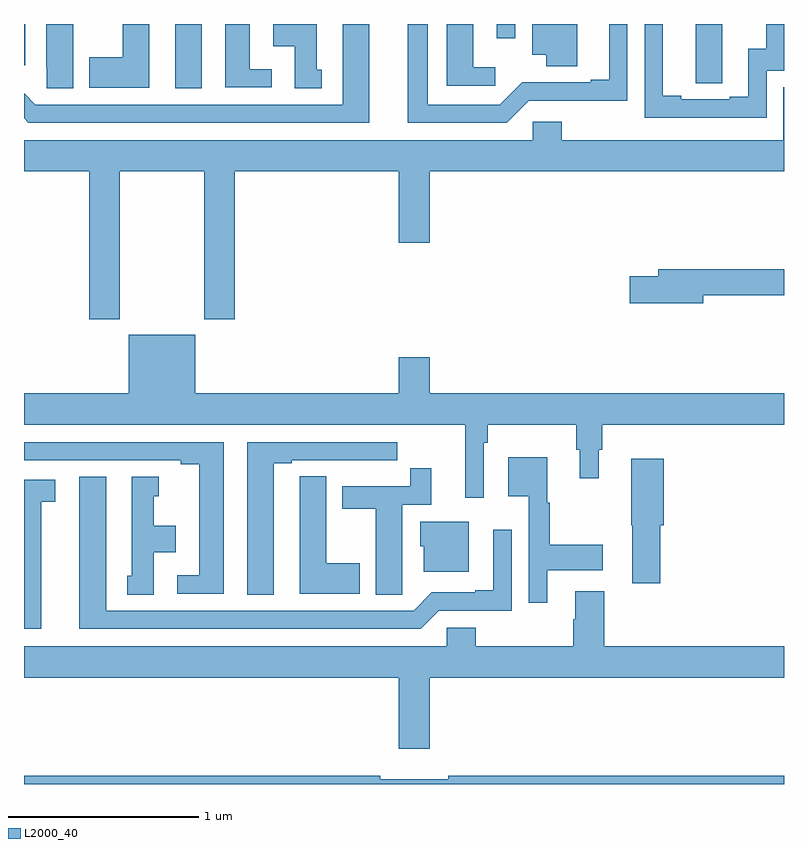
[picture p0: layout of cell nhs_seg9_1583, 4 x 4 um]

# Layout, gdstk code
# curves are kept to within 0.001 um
import gdstk
lib = gdstk.Library(unit=1e-6, precision=1e-09)
def R(c, l, rs):  # rectangles x0, y0, x1, y1
    for r in rs: c.add(gdstk.rectangle(r[:2], r[2:], *l))
def P(c, l, *ps):  # polygons
    for p in ps: c.add(gdstk.Polygon(p, *l))
L2000_40 = (2000, 40)

nhs_seg9_1583 = lib.new_cell('nhs_seg9_1583')
R(nhs_seg9_1583, L2000_40, [(199.796,1226.161,199.936,1226.5), (199,1226.282,199.006,1226.5), (201.489,1226.424,201.585,1226.5)])
P(nhs_seg9_1583, L2000_40, [(200.305,1226.262),(200.188,1226.262),(200.188,1226.5),(200.06,1226.5),(200.06,1226.166),(200.305,1226.166)],
  [(199.258,1226.5),(199.118,1226.5),(199.118,1226.272),(199.119,1226.272),(199.119,1226.161),(199.258,1226.161)],
  [(200.566,1226.259),(200.542,1226.259),(200.542,1226.5),(200.312,1226.5),(200.312,1226.384),(200.426,1226.384),(200.426,1226.161),(200.566,1226.161)],
  [(200.818,1226.5),(200.678,1226.5),(200.678,1226.076),(199.059,1226.076),(199,1226.135),(199,1226.003),(199.023,1225.98),(200.818,1225.98)],
  [(201.913,1226.5),(201.674,1226.5),(201.674,1226.339),(201.749,1226.339),(201.749,1226.278),(201.913,1226.278)],
  [(202.674,1226.296),(202.675,1226.296),(202.675,1226.5),(202.535,1226.5),(202.535,1226.188),(202.674,1226.188)],
  [(199.66,1226.5),(199.52,1226.5),(199.52,1226.325),(199.343,1226.325),(199.343,1226.165),(199.66,1226.165)],
  [(202.908,1226.253),(203,1226.253),(203,1226.5),(202.906,1226.5),(202.906,1226.369),(202.811,1226.369),(202.811,1226.118),(202.715,1226.118),(202.715,1226.103),(202.459,1226.103),(202.459,1226.123),(202.363,1226.123),(202.363,1226.5),(202.266,1226.5),(202.266,1226.007),(202.908,1226.007)],
  [(201.657,1226.097),(202.176,1226.096),(202.176,1226.5),(202.079,1226.5),(202.079,1226.206),(201.983,1226.206),(201.983,1226.193),(201.622,1226.194),(201.504,1226.076),(201.124,1226.076),(201.124,1226.5),(201.02,1226.5),(201.02,1225.98),(201.54,1225.98)],
  [(201.481,1226.272),(201.364,1226.272),(201.364,1226.5),(201.224,1226.5),(201.224,1226.175),(201.481,1226.175)],
  [(199.503,1225.724),(199.948,1225.724),(199.948,1224.945),(200.108,1224.945),(200.108,1225.724),(200.972,1225.724),(200.972,1225.35),(201.136,1225.35),(201.136,1225.724),(203,1225.724),(203,1226.168),(202.997,1226.168),(202.997,1225.888),(201.83,1225.888),(201.83,1225.986),(201.678,1225.986),(201.678,1225.888),(199,1225.888),(199,1225.724),(199.343,1225.724),(199.343,1224.945),(199.503,1224.945)],
  [(202.576,1225.072),(203,1225.072),(203,1225.208),(202.337,1225.208),(202.337,1225.172),(202.188,1225.172),(202.188,1225.03),(202.576,1225.03)],
  [(201.42,1224.296),(201.44,1224.296),(201.44,1224.392),(201.907,1224.392),(201.907,1224.258),(201.926,1224.258),(201.926,1224.108),(202.024,1224.108),(202.024,1224.258),(202.043,1224.258),(202.043,1224.392),(203,1224.392),(203,1224.556),(201.136,1224.556),(201.136,1224.745),(200.972,1224.745),(200.972,1224.556),(199.9,1224.556),(199.9,1224.865),(199.55,1224.865),(199.55,1224.556),(199,1224.556),(199,1224.392),(201.323,1224.392),(201.323,1224.006),(201.42,1224.006)],
  [(200.05,1224.3),(199,1224.3),(199,1224.204),(199.826,1224.204),(199.826,1224.184),(199.922,1224.184),(199.922,1223.598),(199.806,1223.598),(199.806,1223.502),(200.05,1223.502)],
  [(200.314,1224.189),(200.41,1224.189),(200.41,1224.204),(200.686,1224.204),(200.686,1224.203),(200.852,1224.203),(200.852,1224.204),(200.965,1224.204),(200.965,1224.3),(200.174,1224.3),(200.174,1223.497),(200.314,1223.497)],
  [(201.754,1223.624),(202.045,1223.624),(202.045,1223.759),(201.766,1223.759),(201.766,1223.979),(201.754,1223.979),(201.754,1224.22),(201.548,1224.22),(201.548,1224.014),(201.657,1224.014),(201.657,1223.454),(201.754,1223.454)],
  [(202.349,1223.862),(202.367,1223.862),(202.367,1224.211),(202.196,1224.211),(202.196,1223.862),(202.202,1223.862),(202.202,1223.556),(202.349,1223.556)],
  [(200.991,1223.608),(200.992,1223.608),(200.992,1223.97),(201.143,1223.97),(201.143,1224.163),(201.034,1224.163),(201.034,1224.066),(200.675,1224.066),(200.675,1223.95),(200.852,1223.95),(200.852,1223.497),(200.991,1223.497)],
  [(200.767,1223.661),(200.59,1223.661),(200.59,1224.119),(200.451,1224.119),(200.451,1224.011),(200.45,1224.011),(200.45,1223.501),(200.767,1223.501)],
  [(201.183,1223.412),(201.567,1223.412),(201.567,1223.839),(201.47,1223.839),(201.47,1223.521),(201.374,1223.521),(201.374,1223.508),(201.147,1223.508),(201.051,1223.412),(199.432,1223.412),(199.432,1224.118),(199.292,1224.118),(199.292,1223.316),(201.087,1223.316)],
  [(199.684,1223.72),(199.798,1223.72),(199.798,1223.86),(199.684,1223.86),(199.684,1224.015),(199.708,1224.015),(199.708,1224.118),(199.568,1224.118),(199.568,1223.595),(199.544,1223.595),(199.544,1223.497),(199.684,1223.497)],
  [(199.09,1223.986),(199.165,1223.986),(199.165,1224.102),(199,1224.102),(199,1223.316),(199.09,1223.316)],
  [(201.34,1223.881),(201.086,1223.881),(201.086,1223.751),(201.104,1223.751),(201.104,1223.618),(201.34,1223.618)],
  [(201.136,1223.06),(203,1223.06),(203,1223.224),(202.055,1223.224),(202.055,1223.515),(201.902,1223.515),(201.902,1223.366),(201.89,1223.366),(201.89,1223.224),(201.377,1223.224),(201.377,1223.322),(201.225,1223.322),(201.225,1223.224),(199,1223.224),(199,1223.06),(200.972,1223.06),(200.972,1222.686),(201.136,1222.686)],
  [(203,1222.544),(201.232,1222.544),(201.232,1222.525),(200.876,1222.525),(200.876,1222.544),(199,1222.544),(199,1222.5),(203,1222.5)])

lib.write_gds('nhs_seg9_1583.gds')
